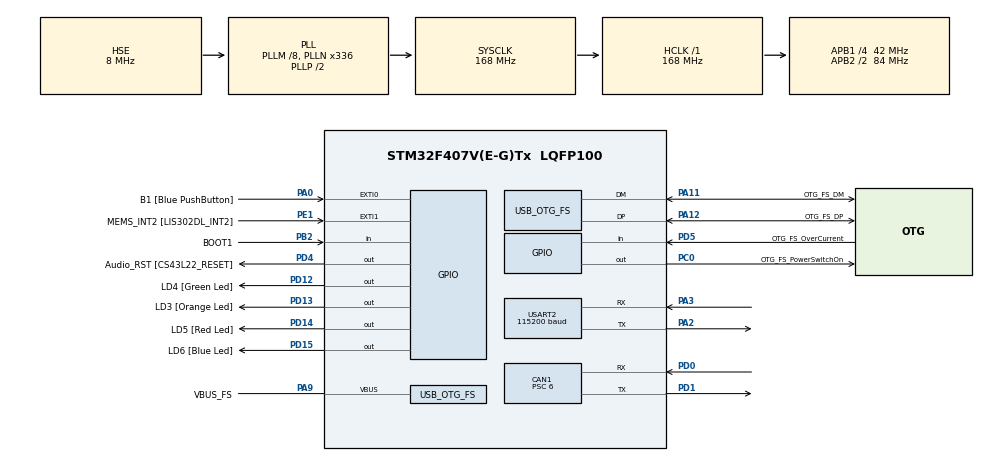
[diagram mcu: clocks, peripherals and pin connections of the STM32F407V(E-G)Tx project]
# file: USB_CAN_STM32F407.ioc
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CAN1.ABOM=ENABLE
CAN1.AWUM=ENABLE
CAN1.BS1=CAN_BS1_11TQ
CAN1.BS2=CAN_BS2_2TQ
CAN1.CalculateTimeQuantum=142.85714285714286
CAN1.Mode=CAN_MODE_NORMAL
CAN1.NART=ENABLE
CAN1.Prescaler=6
CAN1.TXFP=ENABLE
FREERTOS.BinarySemaphores01=myBinarySem01,Dynamic,NULL
FREERTOS.Tasks01=defaultTask,0,128,StartDefaultTask,Default,NULL,Dynamic,NULL,NULL;taskButtonUser,0,128,StartTaskButtonUser,Default,NULL,Dynamic,NULL,NULL;taskParseCanRec,1,128,StartTaskParseCanRec,Default,NULL,Dynamic,NULL,NULL;taskParseUsbRec,3,128,StartTaskParseUsbRec,Default,NULL,Dynamic,NULL,NULL;taskSendUsb,3,128,StartTaskSendUsb,Default,NULL,Dynamic,NULL,NULL;taskSendCan,0,128,StartTaskSendCan,Default,NULL,Dynamic,NULL,NULL
Mcu.Family=STM32F4
Mcu.Name=STM32F407V(E-G)Tx
Mcu.Package=LQFP100
NVIC.CAN1_RX0_IRQn=true\:5\:0\:false\:false\:true\:true\:true\:true
NVIC.OTG_FS_IRQn=true\:5\:0\:false\:false\:true\:true\:true\:true
NVIC.PriorityGroup=NVIC_PRIORITYGROUP_4
NVIC.TIM7_IRQn=true\:0\:0\:false\:false\:true\:false\:false\:true
NVIC.TimeBase=TIM7_IRQn
NVIC.TimeBaseIP=TIM7
NVIC.USART2_IRQn=true\:5\:0\:false\:false\:true\:true\:true\:true
PA0-WKUP.GPIO_Label=B1 [Blue PushButton]
PA0-WKUP.GPIO_ModeDefaultEXTI=GPIO_MODE_EVT_RISING
PA0-WKUP.GPIO_PuPd=GPIO_NOPULL
PA0-WKUP.Signal=GPXTI0
PA10.GPIO_Label=OTG_FS_ID
PA10.GPIO_Mode=GPIO_MODE_AF_PP
PA10.GPIO_PuPd=GPIO_NOPULL
PA10.GPIO_Speed=GPIO_SPEED_FREQ_LOW
PA10.Signal=USB_OTG_FS_ID
PA11.GPIO_Label=OTG_FS_DM
PA11.GPIO_Mode=GPIO_MODE_AF_PP
PA11.GPIO_PuPd=GPIO_NOPULL
PA11.GPIO_Speed=GPIO_SPEED_FREQ_LOW
PA11.Mode=Device_Only
PA11.Signal=USB_OTG_FS_DM
PA12.GPIO_Label=OTG_FS_DP
PA12.GPIO_Mode=GPIO_MODE_AF_PP
PA12.GPIO_PuPd=GPIO_NOPULL
PA12.GPIO_Speed=GPIO_SPEED_FREQ_LOW
PA12.Mode=Device_Only
PA12.Signal=USB_OTG_FS_DP
PA13.GPIO_Label=SWDIO
PA13.Mode=Serial_Wire
PA13.Signal=SYS_JTMS-SWDIO
PA14.GPIO_Label=SWCLK
PA14.Mode=Serial_Wire
PA14.Signal=SYS_JTCK-SWCLK
PA2.Mode=Asynchronous
PA2.Signal=USART2_TX
PA3.Mode=Asynchronous
PA3.Signal=USART2_RX
PA9.GPIO_Label=VBUS_FS
PA9.GPIO_Mode=GPIO_MODE_INPUT
PA9.GPIO_PuPd=GPIO_NOPULL
PA9.Mode=Activate_VBUS
PA9.Signal=USB_OTG_FS_VBUS
PB2.GPIO_Label=BOOT1
PB2.GPIO_Mode=GPIO_MODE_INPUT
PB2.GPIO_PuPd=GPIO_NOPULL
PB2.Signal=GPIO_Input
PB3.GPIO_Label=SWO
PB3.Signal=SYS_JTDO-SWO
PC0.GPIO_Label=OTG_FS_PowerSwitchOn
PC0.GPIO_PuPd=GPIO_NOPULL
PC0.GPIO_Speed=GPIO_SPEED_FREQ_LOW
PC0.PinState=GPIO_PIN_SET
PC0.Signal=GPIO_Output
PC14-OSC32_IN.GPIO_Label=PC14-OSC32_IN
PC14-OSC32_IN.Mode=LSE-External-Oscillator
PC14-OSC32_IN.Signal=RCC_OSC32_IN
PC15-OSC32_OUT.GPIO_Label=PC15-OSC32_OUT
PC15-OSC32_OUT.Mode=LSE-External-Oscillator
PC15-OSC32_OUT.Signal=RCC_OSC32_OUT
PD0.GPIO_PuPd=GPIO_PULLUP
PD0.Mode=Master
PD0.Signal=CAN1_RX
PD1.GPIO_PuPd=GPIO_PULLUP
PD1.Mode=Master
PD1.Signal=CAN1_TX
PD12.GPIO_Label=LD4 [Green Led]
PD12.GPIO_PuPd=GPIO_NOPULL
PD12.GPIO_Speed=GPIO_SPEED_FREQ_LOW
PD12.Signal=GPIO_Output
PD13.GPIO_Label=LD3 [Orange Led]
PD13.GPIO_PuPd=GPIO_NOPULL
PD13.GPIO_Speed=GPIO_SPEED_FREQ_LOW
PD13.Signal=GPIO_Output
PD14.GPIO_Label=LD5 [Red Led]
PD14.GPIO_PuPd=GPIO_NOPULL
PD14.GPIO_Speed=GPIO_SPEED_FREQ_LOW
PD14.Signal=GPIO_Output
PD15.GPIO_Label=LD6 [Blue Led]
PD15.GPIO_PuPd=GPIO_NOPULL
PD15.GPIO_Speed=GPIO_SPEED_FREQ_LOW
PD15.Signal=GPIO_Output
PD4.GPIO_Label=Audio_RST [CS43L22_RESET]
PD4.GPIO_PuPd=GPIO_NOPULL
PD4.GPIO_Speed=GPIO_SPEED_FREQ_LOW
PD4.Signal=GPIO_Output
PD5.GPIO_Label=OTG_FS_OverCurrent
PD5.GPIO_Mode=GPIO_MODE_INPUT
PD5.GPIO_PuPd=GPIO_NOPULL
PD5.Signal=GPIO_Input
PE1.GPIO_Label=MEMS_INT2 [LIS302DL_INT2]
PE1.GPIO_ModeDefaultEXTI=GPIO_MODE_EVT_RISING
PE1.GPIO_PuPd=GPIO_NOPULL
PE1.Signal=GPXTI1
PH0-OSC_IN.GPIO_Label=PH0-OSC_IN
PH0-OSC_IN.Mode=HSE-External-Oscillator
PH0-OSC_IN.Signal=RCC_OSC_IN
PH1-OSC_OUT.GPIO_Label=PH1-OSC_OUT
PH1-OSC_OUT.Mode=HSE-External-Oscillator
PH1-OSC_OUT.Signal=RCC_OSC_OUT
ProjectManager.HeapSize=0x200
ProjectManager.StackSize=0x400
ProjectManager.TargetToolchain=STM32CubeIDE
RCC.48MHZClocksFreq_Value=48000000
RCC.AHBFreq_Value=168000000
RCC.APB1CLKDivider=RCC_HCLK_DIV4
RCC.APB1Freq_Value=42000000
RCC.APB1TimFreq_Value=84000000
RCC.APB2CLKDivider=RCC_HCLK_DIV2
RCC.APB2Freq_Value=84000000
RCC.APB2TimFreq_Value=168000000
RCC.CortexFreq_Value=168000000
RCC.HCLKFreq_Value=168000000
RCC.HSE_VALUE=8000000
RCC.HSI_VALUE=16000000
RCC.PLLM=8
RCC.PLLN=336
RCC.PLLQ=7
RCC.SYSCLKFreq_VALUE=168000000
RCC.SYSCLKSource=RCC_SYSCLKSOURCE_PLLCLK
RCC.VCOOutputFreq_Value=336000000
USART2.BaudRate=115200
USART2.VirtualMode=VM_ASYNC
USB_DEVICE.CLASS_NAME_FS=CUSTOM_HID
USB_DEVICE.USBD_CUSTOMHID_OUTREPORT_BUF_SIZE-CUSTOM_HID_FS=64
USB_DEVICE.USBD_CUSTOM_HID_REPORT_DESC_SIZE-CUSTOM_HID_FS=33
USB_DEVICE.VirtualMode-CUSTOM_HID_FS=CustomHid
USB_DEVICE.VirtualModeFS=Custom_Hid_FS
USB_OTG_FS.VirtualMode=Device_Only
VP_FREERTOS_VS_CMSIS_V1.Mode=CMSIS_V1
VP_SYS_VS_tim7.Mode=TIM7
VP_USB_DEVICE_VS_USB_DEVICE_CUSTOM_HID_FS.Mode=CUSTOM_HID_FS
board=STM32F407G-DISC1

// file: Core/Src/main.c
/* USER CODE BEGIN Header */
/**
  ******************************************************************************
  * @file           : main.c
  * @brief          : Main program body
  ******************************************************************************
  * @attention
  *
  * <h2><center>&copy; Copyright (c) 2019 STMicroelectronics.
  * All rights reserved.</center></h2>
  *
  * This software component is licensed by ST under Ultimate Liberty license
  * SLA0044, the "License"; You may not use this file except in compliance with
  * the License. You may obtain a copy of the License at:
  *                             www.st.com/SLA0044
  *
  ******************************************************************************
  */
/* USER CODE END Header */

#include "main.h"
#include "cmsis_os.h"
#include "usb_device.h"

/* USER CODE BEGIN Includes */
#include "CAN_Filter.h"
#include "CAN_buffer.h"
#include "USB_buffer.h"
#include "PollingRoutines.h"
#include "GPIO_Ports.h"
/* USER CODE END Includes */

CAN_HandleTypeDef hcan1;

UART_HandleTypeDef huart2;

osThreadId defaultTaskHandle;
osThreadId taskButtonUserHandle;
osThreadId taskParseCanRecHandle;
osThreadId taskParseUsbRecHandle;
osThreadId taskSendUsbHandle;
osThreadId taskSendCanHandle;
osSemaphoreId myBinarySem01Handle;

void SystemClock_Config(void);
static void MX_GPIO_Init(void);
static void MX_CAN1_Init(void);
static void MX_USART2_UART_Init(void);
void StartDefaultTask(void const * argument);
void StartTaskButtonUser(void const * argument);
void StartTaskParseCanRec(void const * argument);
void StartTaskParseUsbRec(void const * argument);
void StartTaskSendUsb(void const * argument);
void StartTaskSendCan(void const * argument);

int main(void)
{

  /* MCU Configuration--------------------------------------------------------*/

  /* Reset of all peripherals, Initializes the Flash interface and the Systick. */
  HAL_Init();

  /* Configure the system clock */
  SystemClock_Config();

  /* Initialize all configured peripherals */
  MX_GPIO_Init();
  MX_CAN1_Init();
  MX_USART2_UART_Init();
  /* USER CODE BEGIN 2 */

  SetCanFilter();

  /* USER CODE END 2 */

  /* Create the semaphores(s) */
  /* definition and creation of myBinarySem01 */
  osSemaphoreDef(myBinarySem01);
  myBinarySem01Handle = osSemaphoreCreate(osSemaphore(myBinarySem01), 1);

  /* Create the thread(s) */
  /* definition and creation of defaultTask */
  osThreadDef(defaultTask, StartDefaultTask, osPriorityNormal, 0, 128);
  defaultTaskHandle = osThreadCreate(osThread(defaultTask), NULL);

  /* definition and creation of taskButtonUser */
  osThreadDef(taskButtonUser, StartTaskButtonUser, osPriorityNormal, 0, 128);
  taskButtonUserHandle = osThreadCreate(osThread(taskButtonUser), NULL);

  /* definition and creation of taskParseCanRec */
  osThreadDef(taskParseCanRec, StartTaskParseCanRec, osPriorityAboveNormal, 0, 128);
  taskParseCanRecHandle = osThreadCreate(osThread(taskParseCanRec), NULL);

  /* definition and creation of taskParseUsbRec */
  osThreadDef(taskParseUsbRec, StartTaskParseUsbRec, osPriorityRealtime, 0, 128);
  taskParseUsbRecHandle = osThreadCreate(osThread(taskParseUsbRec), NULL);

  /* definition and creation of taskSendUsb */
  osThreadDef(taskSendUsb, StartTaskSendUsb, osPriorityRealtime, 0, 128);
  taskSendUsbHandle = osThreadCreate(osThread(taskSendUsb), NULL);

  /* definition and creation of taskSendCan */
  osThreadDef(taskSendCan, StartTaskSendCan, osPriorityNormal, 0, 128);
  taskSendCanHandle = osThreadCreate(osThread(taskSendCan), NULL);

  /* Start scheduler */
  osKernelStart();

  /* We should never get here as control is now taken by the scheduler */

  /* Infinite loop */
  while (1)
  {

  }
}

void SystemClock_Config(void)
{
  RCC_OscInitTypeDef RCC_OscInitStruct = {0};
  RCC_ClkInitTypeDef RCC_ClkInitStruct = {0};

  /** Configure the main internal regulator output voltage
  */
  __HAL_RCC_PWR_CLK_ENABLE();
  __HAL_PWR_VOLTAGESCALING_CONFIG(PWR_REGULATOR_VOLTAGE_SCALE1);
  /** Initializes the CPU, AHB and APB busses clocks
  */
  RCC_OscInitStruct.OscillatorType = RCC_OSCILLATORTYPE_HSE;
  RCC_OscInitStruct.HSEState = RCC_HSE_ON;
  RCC_OscInitStruct.PLL.PLLState = RCC_PLL_ON;
  RCC_OscInitStruct.PLL.PLLSource = RCC_PLLSOURCE_HSE;
  RCC_OscInitStruct.PLL.PLLM = 8;
  RCC_OscInitStruct.PLL.PLLN = 336;
  RCC_OscInitStruct.PLL.PLLP = RCC_PLLP_DIV2;
  RCC_OscInitStruct.PLL.PLLQ = 7;
  if (HAL_RCC_OscConfig(&RCC_OscInitStruct) != HAL_OK)
  {
    Error_Handler();
  }
  /** Initializes the CPU, AHB and APB busses clocks
  */
  RCC_ClkInitStruct.ClockType = RCC_CLOCKTYPE_HCLK|RCC_CLOCKTYPE_SYSCLK
                              |RCC_CLOCKTYPE_PCLK1|RCC_CLOCKTYPE_PCLK2;
  RCC_ClkInitStruct.SYSCLKSource = RCC_SYSCLKSOURCE_PLLCLK;
  RCC_ClkInitStruct.AHBCLKDivider = RCC_SYSCLK_DIV1;
  RCC_ClkInitStruct.APB1CLKDivider = RCC_HCLK_DIV4;
  RCC_ClkInitStruct.APB2CLKDivider = RCC_HCLK_DIV2;

  if (HAL_RCC_ClockConfig(&RCC_ClkInitStruct, FLASH_LATENCY_5) != HAL_OK)
  {
    Error_Handler();
  }
}

static void MX_CAN1_Init(void)
{

  hcan1.Instance = CAN1;
  hcan1.Init.Prescaler = 6;
  hcan1.Init.Mode = CAN_MODE_NORMAL;
  hcan1.Init.SyncJumpWidth = CAN_SJW_1TQ;
  hcan1.Init.TimeSeg1 = CAN_BS1_11TQ;
  hcan1.Init.TimeSeg2 = CAN_BS2_2TQ;
  hcan1.Init.TimeTriggeredMode = DISABLE;
  hcan1.Init.AutoBusOff = ENABLE;
  hcan1.Init.AutoWakeUp = ENABLE;
  hcan1.Init.AutoRetransmission = ENABLE;
  hcan1.Init.ReceiveFifoLocked = DISABLE;
  hcan1.Init.TransmitFifoPriority = ENABLE;
  if (HAL_CAN_Init(&hcan1) != HAL_OK)
  {
    Error_Handler();
  }

}

static void MX_USART2_UART_Init(void)
{

  huart2.Instance = USART2;
  huart2.Init.BaudRate = 115200;
  huart2.Init.WordLength = UART_WORDLENGTH_8B;
  huart2.Init.StopBits = UART_STOPBITS_1;
  huart2.Init.Parity = UART_PARITY_NONE;
  huart2.Init.Mode = UART_MODE_TX_RX;
  huart2.Init.HwFlowCtl = UART_HWCONTROL_NONE;
  huart2.Init.OverSampling = UART_OVERSAMPLING_16;
  if (HAL_UART_Init(&huart2) != HAL_OK)
  {
    Error_Handler();
  }

}

static void MX_GPIO_Init(void)
{
  GPIO_InitTypeDef GPIO_InitStruct = {0};

  /* GPIO Ports Clock Enable */
  __HAL_RCC_GPIOE_CLK_ENABLE();
  __HAL_RCC_GPIOC_CLK_ENABLE();
  __HAL_RCC_GPIOH_CLK_ENABLE();
  __HAL_RCC_GPIOA_CLK_ENABLE();
  __HAL_RCC_GPIOB_CLK_ENABLE();
  __HAL_RCC_GPIOD_CLK_ENABLE();

  /*Configure GPIO pin Output Level */
  HAL_GPIO_WritePin(OTG_FS_PowerSwitchOn_GPIO_Port, OTG_FS_PowerSwitchOn_Pin, GPIO_PIN_SET);

  /*Configure GPIO pin Output Level */
  HAL_GPIO_WritePin(GPIOD, LD4_Pin|LD3_Pin|LD5_Pin|LD6_Pin
                          |Audio_RST_Pin, GPIO_PIN_RESET);

  /*Configure GPIO pins : PE2 PE3 PE4 PE5
                           PE6 PE7 PE8 PE9
                           PE10 PE11 PE12 PE13
                           PE14 PE15 PE0 */
  GPIO_InitStruct.Pin = GPIO_PIN_2|GPIO_PIN_3|GPIO_PIN_4|GPIO_PIN_5
                          |GPIO_PIN_6|GPIO_PIN_7|GPIO_PIN_8|GPIO_PIN_9
                          |GPIO_PIN_10|GPIO_PIN_11|GPIO_PIN_12|GPIO_PIN_13
                          |GPIO_PIN_14|GPIO_PIN_15|GPIO_PIN_0;
  GPIO_InitStruct.Mode = GPIO_MODE_ANALOG;
  GPIO_InitStruct.Pull = GPIO_NOPULL;
  HAL_GPIO_Init(GPIOE, &GPIO_InitStruct);

  /*Configure GPIO pins : PC13 PC1 PC2 PC3
                           PC4 PC5 PC6 PC7
                           PC8 PC9 PC10 PC11
                           PC12 */
  GPIO_InitStruct.Pin = GPIO_PIN_13|GPIO_PIN_1|GPIO_PIN_2|GPIO_PIN_3
                          |GPIO_PIN_4|GPIO_PIN_5|GPIO_PIN_6|GPIO_PIN_7
                          |GPIO_PIN_8|GPIO_PIN_9|GPIO_PIN_10|GPIO_PIN_11
                          |GPIO_PIN_12;
  GPIO_InitStruct.Mode = GPIO_MODE_ANALOG;
  GPIO_InitStruct.Pull = GPIO_NOPULL;
  HAL_GPIO_Init(GPIOC, &GPIO_InitStruct);

  /*Configure GPIO pin : OTG_FS_PowerSwitchOn_Pin */
  GPIO_InitStruct.Pin = OTG_FS_PowerSwitchOn_Pin;
  GPIO_InitStruct.Mode = GPIO_MODE_OUTPUT_PP;
  GPIO_InitStruct.Pull = GPIO_NOPULL;
  GPIO_InitStruct.Speed = GPIO_SPEED_FREQ_LOW;
  HAL_GPIO_Init(OTG_FS_PowerSwitchOn_GPIO_Port, &GPIO_InitStruct);

  /*Configure GPIO pin : B1_Pin */
  GPIO_InitStruct.Pin = B1_Pin;
  GPIO_InitStruct.Mode = GPIO_MODE_EVT_RISING;
  GPIO_InitStruct.Pull = GPIO_NOPULL;
  HAL_GPIO_Init(B1_GPIO_Port, &GPIO_InitStruct);

  /*Configure GPIO pins : PA1 PA4 PA5 PA6
                           PA7 PA8 PA15 */
  GPIO_InitStruct.Pin = GPIO_PIN_1|GPIO_PIN_4|GPIO_PIN_5|GPIO_PIN_6
                          |GPIO_PIN_7|GPIO_PIN_8|GPIO_PIN_15;
  GPIO_InitStruct.Mode = GPIO_MODE_ANALOG;
  GPIO_InitStruct.Pull = GPIO_NOPULL;
  HAL_GPIO_Init(GPIOA, &GPIO_InitStruct);

  /*Configure GPIO pins : PB0 PB1 PB10 PB11
                           PB12 PB13 PB14 PB15
                           PB4 PB5 PB6 PB7
                           PB8 PB9 */
  GPIO_InitStruct.Pin = GPIO_PIN_0|GPIO_PIN_1|GPIO_PIN_10|GPIO_PIN_11
                          |GPIO_PIN_12|GPIO_PIN_13|GPIO_PIN_14|GPIO_PIN_15
                          |GPIO_PIN_4|GPIO_PIN_5|GPIO_PIN_6|GPIO_PIN_7
                          |GPIO_PIN_8|GPIO_PIN_9;
  GPIO_InitStruct.Mode = GPIO_MODE_ANALOG;
  GPIO_InitStruct.Pull = GPIO_NOPULL;
  HAL_GPIO_Init(GPIOB, &GPIO_InitStruct);

  /*Configure GPIO pin : BOOT1_Pin */
  GPIO_InitStruct.Pin = BOOT1_Pin;
  GPIO_InitStruct.Mode = GPIO_MODE_INPUT;
  GPIO_InitStruct.Pull = GPIO_NOPULL;
  HAL_GPIO_Init(BOOT1_GPIO_Port, &GPIO_InitStruct);

  /*Configure GPIO pins : PD8 PD9 PD10 PD11
                           PD2 PD3 PD6 PD7 */
  GPIO_InitStruct.Pin = GPIO_PIN_8|GPIO_PIN_9|GPIO_PIN_10|GPIO_PIN_11
                          |GPIO_PIN_2|GPIO_PIN_3|GPIO_PIN_6|GPIO_PIN_7;
  GPIO_InitStruct.Mode = GPIO_MODE_ANALOG;
  GPIO_InitStruct.Pull = GPIO_NOPULL;
  HAL_GPIO_Init(GPIOD, &GPIO_InitStruct);

  /*Configure GPIO pins : LD4_Pin LD3_Pin LD5_Pin LD6_Pin
                           Audio_RST_Pin */
  GPIO_InitStruct.Pin = LD4_Pin|LD3_Pin|LD5_Pin|LD6_Pin
                          |Audio_RST_Pin;
  GPIO_InitStruct.Mode = GPIO_MODE_OUTPUT_PP;
  GPIO_InitStruct.Pull = GPIO_NOPULL;
  GPIO_InitStruct.Speed = GPIO_SPEED_FREQ_LOW;
  HAL_GPIO_Init(GPIOD, &GPIO_InitStruct);

  /*Configure GPIO pin : OTG_FS_OverCurrent_Pin */
  GPIO_InitStruct.Pin = OTG_FS_OverCurrent_Pin;
  GPIO_InitStruct.Mode = GPIO_MODE_INPUT;
  GPIO_InitStruct.Pull = GPIO_NOPULL;
  HAL_GPIO_Init(OTG_FS_OverCurrent_GPIO_Port, &GPIO_InitStruct);

  /*Configure GPIO pin : MEMS_INT2_Pin */
  GPIO_InitStruct.Pin = MEMS_INT2_Pin;
  GPIO_InitStruct.Mode = GPIO_MODE_EVT_RISING;
  GPIO_InitStruct.Pull = GPIO_NOPULL;
  HAL_GPIO_Init(MEMS_INT2_GPIO_Port, &GPIO_InitStruct);

}

void StartDefaultTask(void const * argument)
{
  /* init code for USB_DEVICE */
  MX_USB_DEVICE_Init();
  /* USER CODE BEGIN 5 */
  /* Infinite loop */
  for(;;)
  {
	  PollingRoutine();
	  if(GetCanBusActive() == 1) {
		  CanBusActivityStatus(0);
		  PortD_On(LD4_Pin);
		  osDelay(300);
		  PortD_Off(LD4_Pin);
		  osDelay(1000);
	  }
    osDelay(1);
  }
  /* USER CODE END 5 */
}

void StartTaskButtonUser(void const * argument)
{
  /* USER CODE BEGIN StartTaskButtonUser */
  /* Infinite loop */
static uint8_t buttonPressedCount, buttonReleasedCount = 0;
static uint8_t buttonLast = 0;

  for(;;)
  {
	  if(CheckButtonUser()) {
		  buttonReleasedCount = 0;
		  if(buttonPressedCount++ >= 50) { // debounce button
			  buttonPressedCount = 0;
			  xSemaphoreGive(myBinarySem01Handle); // this currently isn't doing anything
			  if(buttonLast == 0){
				  buttonLast = CheckButtonUser();
			  }
		  }
	  } else {
		  buttonPressedCount = 0;
		  if(buttonReleasedCount++ >= 50) {
			  buttonReleasedCount = 0;
			  buttonLast = CheckButtonUser();
		  }
	  }
    osDelay(1);
  }
  /* USER CODE END StartTaskButtonUser */
}

void StartTaskParseCanRec(void const * argument)
{
  /* USER CODE BEGIN StartTaskParseCanRec */
  /* Infinite loop */
  for(;;)
  {
	  ParseCanRec();
    osDelay(1);
  }
  /* USER CODE END StartTaskParseCanRec */
}

void StartTaskParseUsbRec(void const * argument)
{
  /* USER CODE BEGIN StartTaskParseUsbRec */
  /* Infinite loop */
  for(;;)
  {
	  ParseUsbRec();
    osDelay(1);
  }
  /* USER CODE END StartTaskParseUsbRec */
}

void StartTaskSendUsb(void const * argument)
{
  /* USER CODE BEGIN StartTaskSendUsb */
  /* Infinite loop */
  for(;;)
  {
	  SendUsbMessage();
    osDelay(1);
  }
  /* USER CODE END StartTaskSendUsb */
}

void StartTaskSendCan(void const * argument)
{
  /* USER CODE BEGIN StartTaskSendCan */
  /* Infinite loop */
  for(;;)
  {
	  SendCanTxMessage1(&hcan1); // checks to see if there is a message to send
    osDelay(1);
  }
  /* USER CODE END StartTaskSendCan */
}

void HAL_TIM_PeriodElapsedCallback(TIM_HandleTypeDef *htim)
{
  if (htim->Instance == TIM7) {
    HAL_IncTick();
  }
}

void Error_Handler(void)
{
}

/************************ (C) COPYRIGHT STMicroelectronics *****END OF FILE****/
